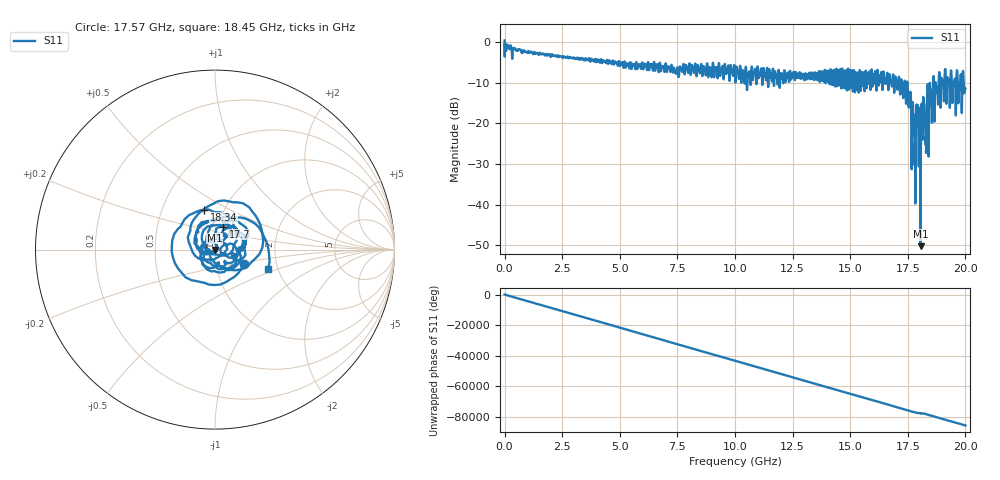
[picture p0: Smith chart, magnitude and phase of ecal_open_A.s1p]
! MS46122B
! 2250307/22442219
! 7/22/2025 7:43:53 AM
! C:\USERS\SPARKY\DOCUMENTS\VNA_DATA\JULY22_2025\3K\ECAL_OPEN_A.S1P
! CHANNEL.1
! TR.MEASUREMENT
! RAW.DATA
# GHZ S RI R 50.0
! FREQ.GHZ  S11RE  S11IM
!; PortSelection: Port_1
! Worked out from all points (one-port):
!   10001 points, 1 MHz to 20 GHz, reference 50 ohm
!   lowest |S11| = -50.3 dB at 18.06 GHz (marker M1), VSWR 1.01, Z = 49.8 - j0.193 ohm
!   |S11| at or under -10 dB: 17.25 GHz to 17.35 GHz (107.4 MHz wide, 0.621 % of centre); 17.48 GHz to 18.59 GHz (1.111 GHz wide, 6.16 % of centre); 18.71 GHz to 18.84 GHz (132.9 MHz wide, 0.708 % of centre) (the widest 3 of 61)
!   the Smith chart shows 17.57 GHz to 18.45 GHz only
!   S11 on the Smith chart (normalised r, x): 17.57 GHz: 1.37, -0.22; 17.7 GHz: 1.06, +0.28; 18.34 GHz: 0.81, +0.38; 18.45 GHz: 1.77, -0.43
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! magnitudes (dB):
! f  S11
! 1 MHz  0.4
! 2.501 GHz  -3.7
! 5.001 GHz  -5.8
! 7.501 GHz  -6.2
! 10 GHz  -8.0
! 10.6 GHz  -8.5
! 10.8 GHz  -7.8
! 12.5 GHz  -8.4
! 15 GHz  -7.0
! 16.78 GHz  -9.8
! 17.42 GHz  -14.7
! 17.5 GHz  -11.4
! 17.57 GHz  -14.9
! 17.7 GHz  -17.4
! 17.75 GHz  -19.2
! 17.89 GHz  -15.9
! 17.94 GHz  -16.1
! 18.06 GHz  -50.3
! 18.17 GHz  -13.9
! 18.22 GHz  -18.8
! 18.34 GHz  -12.8
! 18.41 GHz  -19.6
! 18.45 GHz  -10.0
! 19.05 GHz  -11.1
! 19.46 GHz  -10.7
! 19.51 GHz  -10.5
! 19.57 GHz  -11.3
! 20 GHz  -11.5
